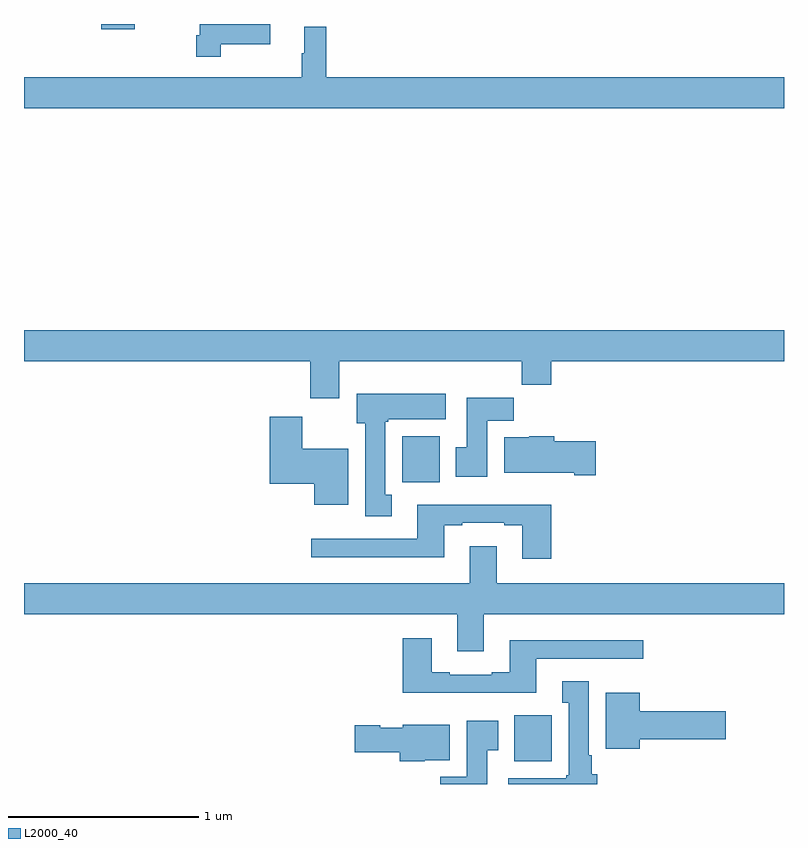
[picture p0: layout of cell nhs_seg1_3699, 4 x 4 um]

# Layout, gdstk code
import gdstk
lib = gdstk.Library(unit=1e-6, precision=1e-09)
def R(c, l, rs):  # rectangles x0, y0, x1, y1
    for r in rs: c.add(gdstk.rectangle(r[:2], r[2:], *l))
def P(c, l, *ps):  # polygons
    for p in ps: c.add(gdstk.Polygon(p, *l))
L2000_40 = (2000, 40)

nhs_seg1_3699 = lib.new_cell('nhs_seg1_3699')
R(nhs_seg1_3699, L2000_40, [(315.581,524.318,315.778,524.56), (314.99,525.788,315.187,526.03), (313.406,528.171,313.584,528.199)])
P(nhs_seg1_3699, L2000_40, [(314.035,528.092),(314.296,528.092),(314.296,528.199),(313.926,528.199),(313.926,528.139),(313.906,528.139),(313.906,528.027),(314.035,528.027)],
  [(317,527.92),(314.591,527.92),(314.591,528.184),(314.474,528.184),(314.474,528.044),(314.463,528.044),(314.463,527.92),(313,527.92),(313,527.756),(317,527.756)],
  [(314.659,526.424),(315.619,526.424),(315.619,526.3),(315.776,526.3),(315.776,526.424),(317,526.424),(317,526.588),(313,526.588),(313,526.424),(314.507,526.424),(314.507,526.23),(314.659,526.23)],
  [(314.935,525.722),(314.902,525.722),(314.902,526.105),(314.916,526.105),(314.916,526.118),(315.22,526.118),(315.22,526.252),(314.75,526.252),(314.75,526.098),(314.795,526.098),(314.795,525.609),(314.935,525.609)],
  [(315.439,526.112),(315.578,526.112),(315.578,526.231),(315.329,526.231),(315.329,525.972),(315.272,525.972),(315.272,525.816),(315.439,525.816)],
  [(314.707,525.964),(314.464,525.964),(314.464,526.132),(314.294,526.132),(314.294,525.779),(314.528,525.779),(314.528,525.668),(314.707,525.668)],
  [(316.009,526.002),(315.791,526.002),(315.791,526.03),(315.66,526.03),(315.66,526.024),(315.527,526.024),(315.527,525.836),(315.896,525.836),(315.896,525.824),(316.009,525.824)],
  [(315.776,525.67),(315.071,525.67),(315.071,525.489),(314.511,525.489),(314.511,525.392),(315.211,525.392),(315.211,525.561),(315.307,525.561),(315.307,525.573),(315.527,525.573),(315.527,525.561),(315.623,525.561),(315.623,525.384),(315.776,525.384)],
  [(315.421,525.092),(317,525.092),(317,525.256),(315.487,525.256),(315.487,525.451),(315.347,525.451),(315.347,525.256),(313,525.256),(313,525.092),(315.281,525.092),(315.281,524.898),(315.421,524.898)],
  [(315.697,524.859),(316.258,524.859),(316.258,524.956),(315.557,524.956),(315.557,524.788),(315.461,524.788),(315.461,524.775),(315.241,524.775),(315.241,524.788),(315.145,524.788),(315.145,524.965),(314.993,524.965),(314.993,524.678),(315.697,524.678)],
  [(316.018,524.25),(315.988,524.25),(315.988,524.35),(315.973,524.35),(315.973,524.74),(315.833,524.74),(315.833,524.627),(315.866,524.627),(315.866,524.244),(315.853,524.244),(315.853,524.23),(315.549,524.23),(315.549,524.199),(316.018,524.199)],
  [(316.24,524.435),(316.693,524.435),(316.693,524.582),(316.24,524.582),(316.24,524.68),(316.061,524.68),(316.061,524.384),(316.24,524.384)],
  [(315.439,524.377),(315.496,524.377),(315.496,524.533),(315.329,524.533),(315.329,524.236),(315.19,524.236),(315.19,524.199),(315.439,524.199)],
  [(315.108,524.324),(315.241,524.324),(315.241,524.512),(314.994,524.512),(314.994,524.494),(314.874,524.494),(314.874,524.507),(314.742,524.507),(314.742,524.365),(314.978,524.365),(314.978,524.318),(315.108,524.318)])

lib.write_gds('nhs_seg1_3699.gds')
